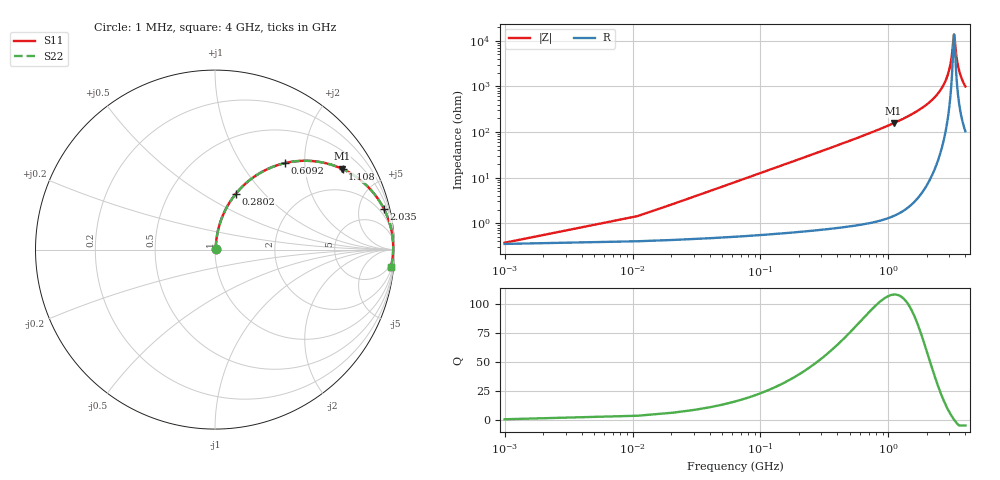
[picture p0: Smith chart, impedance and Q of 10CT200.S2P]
! Coilcraft 1008CT-200 Chip Inductor
! 17 July 2002
# MHZ S MA R 50
!Freq  MagS11  AngS11  MagS21  AngS21  MagS12  AngS12  MagS22  AngS22
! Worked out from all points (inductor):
!   403 points, 1 MHz to 4 GHz, reference 50 ohm
!   read as one part in series: L = 20 nH near 20.94 MHz
!   highest Q = 108 at 1.098 GHz (marker M1), where L = 22.6 nH
!   self-resonance near 3.261 GHz
!   S11 on the Smith chart (normalised r, x): 1 MHz: 1.01, +0.00; 280.2 MHz: 1.01, +0.71; 609.2 MHz: 1.02, +1.59; 1.108 GHz: 1.03, +3.15; 2.035 GHz: 1.15, +8.37; 4 GHz: 3, -20
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1  0.003724 19.6  0.9965 -0.1  0.9965 -0.1  0.003724 19.6
30.91  0.0389 81.1  0.9948 -2.2  0.9948 -2.2  0.0389 81.1
50.85  0.06366 82.0  0.9931 -3.6  0.9931 -3.6  0.06366 82.0
70.79  0.08835 81.6  0.991 -5.1  0.991 -5.1  0.08835 81.6
150.55  0.1853 77.5  0.9768 -10.7  0.9768 -10.7  0.1853 77.5
280.16  0.3323 69.5  0.9366 -19.4  0.9366 -19.4  0.3323 69.5
609.17  0.6179 51.2  0.779 -38.2  0.779 -38.2  0.6179 51.2
668.99  0.656 48.4  0.7475 -41.0  0.7475 -41.0  0.656 48.4
1097.7  0.8377 32.6  0.5385 -56.9  0.5385 -56.9  0.8377 32.6
1107.67  0.8405 32.3  0.5342 -57.2  0.5342 -57.2  0.8405 32.3
1336.98  0.8927 26.2  0.4421 -63.2  0.4421 -63.2  0.8927 26.2
2004.97  0.967 13.8  0.2389 -75.2  0.2389 -75.2  0.967 13.8
2034.88  0.9687 13.4  0.2315 -75.6  0.2315 -75.6  0.9687 13.4
2672.96  0.9899 5.6  0.09711 -81.3  0.09711 -81.3  0.9899 5.6
3031.88  0.9929 2.0  0.03624 -77.7  0.03624 -77.7  0.9929 2.0
3131.58  0.993 1.1  0.02109 -70.1  0.02109 -70.1  0.993 1.1
3251.22  0.9928 0.1  0.007423 -14.1  0.007423 -14.1  0.9928 0.1
3281.13  0.9927 -0.1  0.007753 19.5  0.007753 19.5  0.9927 -0.1
3340.95  0.9924 -0.6  0.01361 55.8  0.01361 55.8  0.9924 -0.6
3440.65  0.9918 -1.5  0.02675 71.4  0.02675 71.4  0.9918 -1.5
3570.26  0.9906 -2.5  0.04422 76.5  0.04422 76.5  0.9906 -2.5
4000  0.9849 -5.6  0.09883 78.4  0.09883 78.4  0.9849 -5.6
